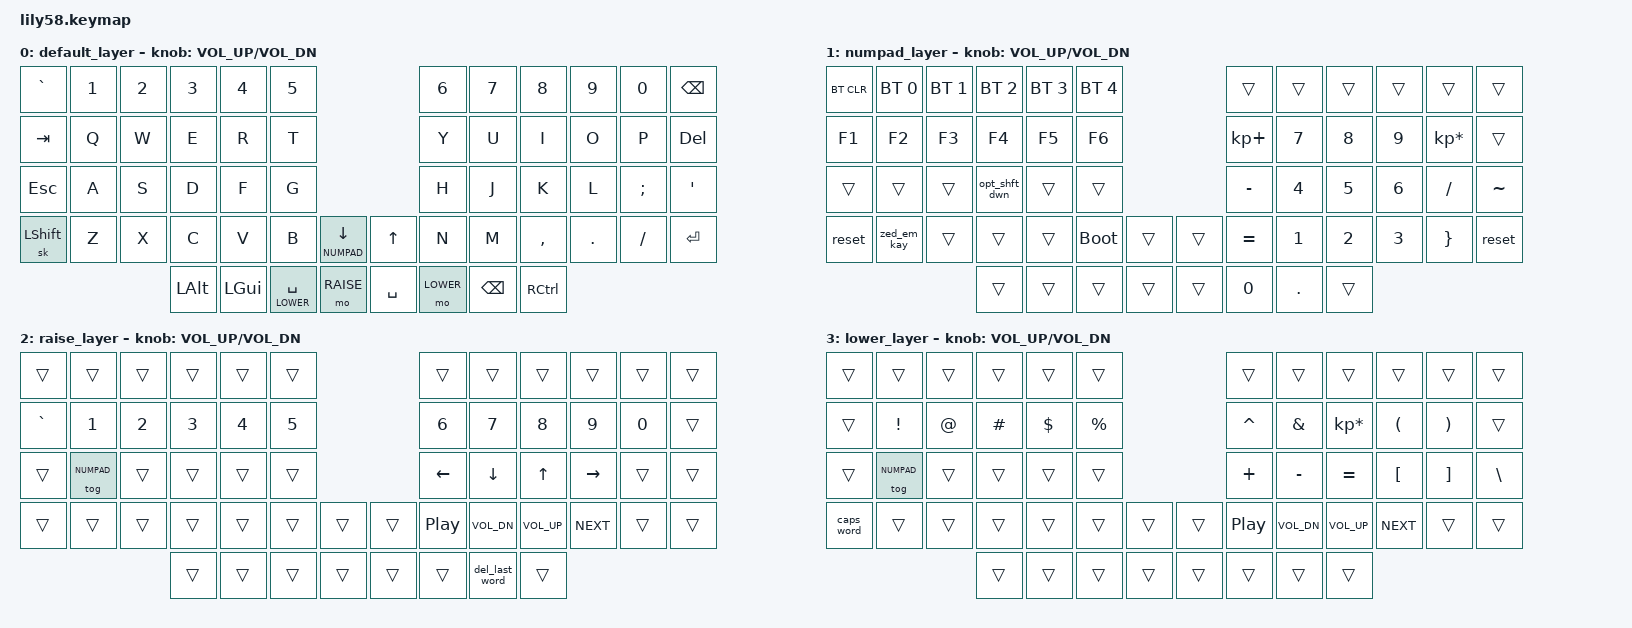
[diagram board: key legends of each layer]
/*
 * Copyright (c) 2020 The ZMK Contributors
 *
 * SPDX-License-Identifier: MIT
 */

#include <behaviors.dtsi>
#include <dt-bindings/zmk/keys.h>
#include <dt-bindings/zmk/bt.h>
#include <dt-bindings/zmk/ext_power.h>

#define DEFAULT 0
#define NUMPAD   1
#define RAISE   2
#define LOWER   3

&caps_word {
    continue-list = <UNDER MINUS BSPC LSHIFT>;
};

/ {
    macros {
        zed_em_kay: zed_em_kay {
            label = "ZM_zed_em_kay";
						wait-ms = <10>;
            compatible = "zmk,behavior-macro";
            #binding-cells = <0>;
            bindings
                = <&macro_press &kp LSHFT>
                , <&macro_tap &kp Z &kp M &kp K>
                , <&macro_release &kp LSHFT>
                ;
        };
       del_last_word: del_last_word {
            label = "del_last_word";
						wait-ms = <10>;
            compatible = "zmk,behavior-macro";
            #binding-cells = <0>;
            bindings
                = <&macro_tap_time 10>
								, <&macro_press &kp LSHFT &kp LALT>
                , <&macro_tap &kp LEFT>
                , <&macro_release &kp LALT>
                , <&macro_tap &kp BACKSPACE>
                , <&macro_release &kp LSHFT>
                ;
        };
       opt_shft_dwn: opt_shft_dwn {
            label = "opt_shft_dwn";
						wait-ms = <10>;
            compatible = "zmk,behavior-macro";
            #binding-cells = <0>;
            bindings
                =  <&macro_tap_time 10>
								, <&macro_press &kp LSHFT &kp LALT>
                , <&macro_tap &kp DOWN>
                , <&macro_release &kp LSHFT &kp LALT>
                ;
        };
    };
};
/ {
	keymap {
		compatible = "zmk,keymap";

		default_layer {
// ------------------------------------------------------------------------------------------------------------
// |  `    |  1  |  2  |  3   |  4   |  5   |                              |  6   |  7    |  8    |  9   |   0   | BSPC  |
// |  TAB  |  Q  |  W  |  E   |  R   |  T   |                              |  Y   |  U    |  I    |  O   |   P   |  DEL  | 
// |  ESC  |  A  |  S  |  D   |  F   |  G   |                              |  H   |  J    |  K    |  L   |   ;   |   '   |
// | SHIFT |  Z  |  X  |  C   |  V   |  B   |    "down"/NUMPAD |  |  "Up"  |  N   |  M    |  ,    |  .   |   /   | Return|
//                     | ALT  | GUI  |space/LOWER | RAISE|     | ENTER  | LOWER| BSPC  | RCTRL |
			bindings = <
&kp GRAVE    &kp N1   &kp N2   &kp N3     &kp N4     &kp N5                                             &kp N6        &kp N7          &kp N8     &kp N9   &kp N0    &kp BACKSPACE
&kp TAB     &kp Q    &kp W    &kp E      &kp R      &kp T                                              &kp Y         &kp U           &kp I      &kp O    &kp P     &kp DELETE
&kp ESC     &kp A    &kp S    &kp D      &kp F      &kp G                                              &kp H         &kp J           &kp K      &kp L    &kp SEMI  &kp SQT
&sk LSHIFT  &kp Z    &kp X    &kp C      &kp V      &kp B            &lt NUMPAD DOWN     &kp UP        &kp N         &kp M           &kp COMMA  &kp DOT  &kp FSLH  &kp RET 
                              &kp LALT   &kp LGUI   &lt LOWER SPACE  &mo RAISE           &kp SPACE     &mo LOWER     &kp BACKSPACE   &kp RCTRL 
			>;    

			sensor-bindings = <&inc_dec_kp C_VOL_UP C_VOL_DN>;
		};

		numpad_layer {
// ------------------------------------------------------------------------------------------------------------
// | BTCLR | BT1 | BT2 |  BT3 |  BT4 |  BT5 |                   |      |       |       |      |       |       |
// |  F1   |  F2 |  F3 |  F4  |  F5  |  F6  |                   |  +   |  7    |  8    |  9   |  *    |       |
// |       |     |     |opShDn|      |      |                   |  -   |  4    |  5    |  6   |  /    |   ~   |
// | reset | ZMK |     |      |      | boot |        |  |       |  =   |  1    |  2    |  3   |   }   | reset |
//                     |      |      |      |        |  |       |      |  0    |  .    |
			bindings = <
&bt BT_CLR   &bt BT_SEL 0  &bt BT_SEL 1   &bt BT_SEL 2   &bt BT_SEL 3   &bt BT_SEL 4                     &trans          &trans    &trans    &trans     &trans           &trans
&kp F1       &kp F2        &kp F3         &kp F4         &kp F5         &kp F6                           &kp KP_PLUS     &kp N7    &kp N8    &kp N9     &kp KP_MULTIPLY  &trans
&trans       &trans        &trans         &opt_shft_dwn         &trans         &trans                           &kp MINUS       &kp N4    &kp N5    &kp N6     &kp FSLH         &kp TILDE
&reset       &zed_em_kay   &trans         &trans 	       &trans         &bootloader   &trans   &trans    &kp EQUAL       &kp N1    &kp N2    &kp N3     &kp RBRC         &reset
                                          &trans         &trans         &trans        &trans   &trans    &kp N0          &kp DOT   &trans
			>;

			sensor-bindings = <&inc_dec_kp C_VOL_UP C_VOL_DN>;
		};

		raise_layer {
// ------------------------------------------------------------------------------------------------------------
// |       |        |     |      |      |      |                   |      |       |       |      |       |       |
// |   `   |  1     |  2  |  3   |  4   |  5   |                   |  6   |   7   |   8   |  9   |   0   |       |
// |       | NUMPAD |     |      |      |      |                   | left |  down |  up   |right |       |       |
// |       |        |     |      |      |      |        |  |       | play | vol - | vol + | next |       |       |
//                        |      |      |      |        |  |       |      |       |       |
			bindings = <
&trans      &trans        &trans      &trans        &trans       &trans                       &trans      &trans           &trans          &trans       &trans     &trans
&kp GRAVE   &kp N1        &kp N2      &kp N3        &kp N4       &kp N5                       &kp N6      &kp N7           &kp N8          &kp N9       &kp N0     &trans
&trans      &tog NUMPAD   &trans      &trans        &trans       &trans                       &kp LEFT    &kp DOWN         &kp UP          &kp RIGHT    &trans     &trans  
&trans      &trans        &trans      &trans        &trans       &trans    &trans    &trans   &kp C_PP    &kp C_VOL_DN     &kp C_VOL_UP    &kp C_NEXT   &trans     &trans 
                                      &trans        &trans       &trans    &trans    &trans   &trans      &del_last_word   &trans  
			>;    

			sensor-bindings = <&inc_dec_kp C_VOL_UP C_VOL_DN>;
		}; 


		lower_layer {
// ------------------------------------------------------------------------------------------------------------
// |       |      |     |      |      |      |                   |      |       |       |      |       |       |
// |   `   |  !   |  @  |  #   |  $   |  %   |                   |  ^   |  &    |  *    |  (   |   )   |       |
// |       |NUMPAD|     |      |      |      |                   |  +   |   -   |   =   |  [   |   ]   |   \   |
// |capsWRD|      |     |      |      |      |        |  |       | play | vol - | vol + | next |       |       |
//                      |      |      |      |        |  |       |      |       |       |
			bindings = <
&trans       &trans         &trans    &trans      &trans         &trans                        &trans    &trans        &trans          &trans       &trans    &trans
&trans       &kp EXCL       &kp AT    &kp HASH    &kp DOLLAR     &kp PRCNT                     &kp CARET &kp AMPS      &kp KP_MULTIPLY &kp LPAR     &kp RPAR  &trans
&trans       &tog NUMPAD    &trans    &trans      &trans         &trans                        &kp PLUS  &kp MINUS     &kp EQUAL       &kp LBKT     &kp RBKT  &kp BSLH
&caps_word   &trans         &trans    &trans      &trans         &trans     &trans   &trans    &kp C_PP  &kp C_VOL_DN  &kp C_VOL_UP    &kp C_NEXT   &trans     &trans
                                  &trans      &trans         &trans     &trans   &trans    &trans    &trans        &trans
			>;

			sensor-bindings = <&inc_dec_kp C_VOL_UP C_VOL_DN>;
		};

	};
};
